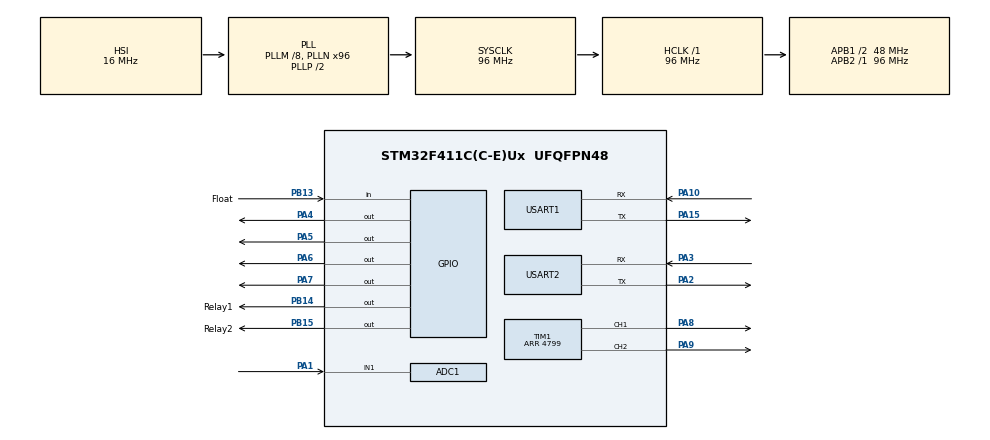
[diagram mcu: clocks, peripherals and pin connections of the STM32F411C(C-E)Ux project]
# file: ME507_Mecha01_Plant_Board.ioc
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ADC1.Channel-0\#ChannelRegularConversion=ADC_CHANNEL_1
ADC1.NbrOfConversionFlag=1
ADC1.Rank-0\#ChannelRegularConversion=1
ADC1.SamplingTime-0\#ChannelRegularConversion=ADC_SAMPLETIME_3CYCLES
ADC1.master=1
Mcu.Family=STM32F4
Mcu.Name=STM32F411C(C-E)Ux
Mcu.Package=UFQFPN48
NVIC.PriorityGroup=NVIC_PRIORITYGROUP_4
PA1.Signal=ADCx_IN1
PA10.Mode=Asynchronous
PA10.Signal=USART1_RX
PA13.Mode=Trace_Asynchronous_SW
PA13.Signal=SYS_JTMS-SWDIO
PA14.Mode=Trace_Asynchronous_SW
PA14.Signal=SYS_JTCK-SWCLK
PA15.Mode=Asynchronous
PA15.Signal=USART1_TX
PA2.Mode=Asynchronous
PA2.Signal=USART2_TX
PA3.Mode=Asynchronous
PA3.Signal=USART2_RX
PA4.Signal=GPIO_Output
PA5.Signal=GPIO_Output
PA6.Signal=GPIO_Output
PA7.Signal=GPIO_Output
PA8.Signal=S_TIM1_CH1
PA9.Signal=S_TIM1_CH2
PB13.GPIO_Label=Float
PB13.Signal=GPIO_Input
PB14.GPIO_Label=Relay1
PB14.Signal=GPIO_Output
PB15.GPIO_Label=Relay2
PB15.Signal=GPIO_Output
PB3.Mode=Trace_Asynchronous_SW
PB3.Signal=SYS_JTDO-SWO
ProjectManager.HeapSize=0x200
ProjectManager.StackSize=0x400
ProjectManager.TargetToolchain=STM32CubeIDE
RCC.48MHZClocksFreq_Value=48000000
RCC.AHBFreq_Value=96000000
RCC.APB1CLKDivider=RCC_HCLK_DIV2
RCC.APB1Freq_Value=48000000
RCC.APB1TimFreq_Value=96000000
RCC.APB2Freq_Value=96000000
RCC.APB2TimFreq_Value=96000000
RCC.CortexFreq_Value=96000000
RCC.HCLKFreq_Value=96000000
RCC.HSE_VALUE=25000000
RCC.HSI_VALUE=16000000
RCC.LSE_VALUE=32768
RCC.PLLM=8
RCC.PLLN=96
RCC.SYSCLKFreq_VALUE=96000000
RCC.SYSCLKSource=RCC_SYSCLKSOURCE_PLLCLK
RCC.VCOOutputFreq_Value=192000000
SH.ADCx_IN1.0=ADC1_IN1,IN1
SH.S_TIM1_CH1.0=TIM1_CH1,PWM Generation1 CH1
SH.S_TIM1_CH2.0=TIM1_CH2,PWM Generation2 CH2
TIM1.Channel-PWM\ Generation1\ CH1=TIM_CHANNEL_1
TIM1.Channel-PWM\ Generation2\ CH2=TIM_CHANNEL_2
TIM1.Period=4799
USART1.VirtualMode=VM_ASYNC
USART2.VirtualMode=VM_ASYNC
board=custom

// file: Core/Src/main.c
/* USER CODE BEGIN Header */
/**
  ******************************************************************************
  * @file           : main.c
  * @brief          : Main program body
  ******************************************************************************
  * @attention
  *
  * Copyright (c) 2026 STMicroelectronics.
  * All rights reserved.
  *
  * This software is licensed under terms that can be found in the LICENSE file
  * in the root directory of this software component.
  * If no LICENSE file comes with this software, it is provided AS-IS.
  *
  ******************************************************************************
  */
/* USER CODE END Header */
#include "main.h"

/* USER CODE BEGIN Includes */
#include "motor_driver.h"
#include "stdio.h"
#include "stdlib.h"
#include "ctype.h"
#include "valve.h"
#include "float.h"
#include "probe.h"
/* USER CODE END Includes */

ADC_HandleTypeDef hadc1;

TIM_HandleTypeDef htim1;

UART_HandleTypeDef huart1;
UART_HandleTypeDef huart2;

/* USER CODE BEGIN PV */
//defining all peripherals - sensors + actuators
motor_t motor;
valve_t valve1;
valve_t valve2;
float_t float1;
tds_t tds1;

uint8_t motor_enable = 0;
uint32_t last_motor_cycle_tick = 0;
uint32_t  motor_start_tick = 0;
/* USER CODE END PV */

void SystemClock_Config(void);
static void MX_GPIO_Init(void);
static void MX_ADC1_Init(void);
static void MX_TIM1_Init(void);
static void MX_USART1_UART_Init(void);
static void MX_USART2_UART_Init(void);

int main(void)
{

  /* MCU Configuration--------------------------------------------------------*/

  /* Reset of all peripherals, Initializes the Flash interface and the Systick. */
  HAL_Init();

  /* Configure the system clock */
  SystemClock_Config();

  /* Initialize all configured peripherals */
  MX_GPIO_Init();
  MX_ADC1_Init();
  MX_TIM1_Init();
  MX_USART1_UART_Init();
  MX_USART2_UART_Init();
  /* USER CODE BEGIN 2 */
  motor = (motor_t){TIM_CHANNEL_1, TIM_CHANNEL_2, &htim1};
  motor_chan_enable(&motor);
  motor_set_duty_cycle(&motor, 0);
  valve1 = (valve_t){Relay1_GPIO_Port, Relay1_Pin};
  valve2 = (valve_t){Relay2_GPIO_Port, Relay2_Pin};
  float1 = (float_t){Float_GPIO_Port, Float_Pin};
  tds_init(&tds1, &hadc1, &huart1, 3.3f);
  last_motor_cycle_tick = HAL_GetTick();

  /* USER CODE END 2 */

  /* Infinite loop */
  /* USER CODE BEGIN WHILE */

  while (1)
  {
	  uint32_t now = HAL_GetTick();

	     /* Read float switch */
	     if(read_float(&float1) == GPIO_PIN_SET){
	         valve_open(&valve1);
	     }
	     else{
	         valve_close(&valve1);
	     }

	     /* Read TDS sensor */
	     float ppm = tds_read_ppm(&tds1);
	     tds_uart_print(&tds1);

	     if(ppm < 100.0f)  {
	         valve_open(&valve2);
	     }
	     else{
	         valve_close(&valve2);
	     }

	     /* Motor enabling */
	     if((motor_enable == 0) &&
	        ((now - last_motor_cycle_tick) >= 36000UL)){
	         motor_enable = 1;
	         motor_start_tick = now;
	     }

	     if((motor_enable == 1) &&
	        ((now - motor_start_tick) >= 6000UL)){
	         motor_enable = 0;
	         last_motor_cycle_tick = now;
	     }

	     /* Apply motor state */
	     if(motor_enable){
	         motor_set_duty_cycle(&motor, 100);
	     }
	     else{
	         motor_stop(&motor);
	     }

	     HAL_Delay(50);

    /* USER CODE END WHILE */

  }
}

void SystemClock_Config(void)
{
  RCC_OscInitTypeDef RCC_OscInitStruct = {0};
  RCC_ClkInitTypeDef RCC_ClkInitStruct = {0};

  /** Configure the main internal regulator output voltage
  */
  __HAL_RCC_PWR_CLK_ENABLE();
  __HAL_PWR_VOLTAGESCALING_CONFIG(PWR_REGULATOR_VOLTAGE_SCALE1);

  /** Initializes the RCC Oscillators according to the specified parameters
  * in the RCC_OscInitTypeDef structure.
  */
  RCC_OscInitStruct.OscillatorType = RCC_OSCILLATORTYPE_HSI;
  RCC_OscInitStruct.HSIState = RCC_HSI_ON;
  RCC_OscInitStruct.HSICalibrationValue = RCC_HSICALIBRATION_DEFAULT;
  RCC_OscInitStruct.PLL.PLLState = RCC_PLL_ON;
  RCC_OscInitStruct.PLL.PLLSource = RCC_PLLSOURCE_HSI;
  RCC_OscInitStruct.PLL.PLLM = 8;
  RCC_OscInitStruct.PLL.PLLN = 96;
  RCC_OscInitStruct.PLL.PLLP = RCC_PLLP_DIV2;
  RCC_OscInitStruct.PLL.PLLQ = 4;
  if (HAL_RCC_OscConfig(&RCC_OscInitStruct) != HAL_OK)
  {
    Error_Handler();
  }

  /** Initializes the CPU, AHB and APB buses clocks
  */
  RCC_ClkInitStruct.ClockType = RCC_CLOCKTYPE_HCLK|RCC_CLOCKTYPE_SYSCLK
                              |RCC_CLOCKTYPE_PCLK1|RCC_CLOCKTYPE_PCLK2;
  RCC_ClkInitStruct.SYSCLKSource = RCC_SYSCLKSOURCE_PLLCLK;
  RCC_ClkInitStruct.AHBCLKDivider = RCC_SYSCLK_DIV1;
  RCC_ClkInitStruct.APB1CLKDivider = RCC_HCLK_DIV2;
  RCC_ClkInitStruct.APB2CLKDivider = RCC_HCLK_DIV1;

  if (HAL_RCC_ClockConfig(&RCC_ClkInitStruct, FLASH_LATENCY_3) != HAL_OK)
  {
    Error_Handler();
  }
}

static void MX_ADC1_Init(void)
{

  ADC_ChannelConfTypeDef sConfig = {0};

  /** Configure the global features of the ADC (Clock, Resolution, Data Alignment and number of conversion)
  */
  hadc1.Instance = ADC1;
  hadc1.Init.ClockPrescaler = ADC_CLOCK_SYNC_PCLK_DIV4;
  hadc1.Init.Resolution = ADC_RESOLUTION_12B;
  hadc1.Init.ScanConvMode = DISABLE;
  hadc1.Init.ContinuousConvMode = DISABLE;
  hadc1.Init.DiscontinuousConvMode = DISABLE;
  hadc1.Init.ExternalTrigConvEdge = ADC_EXTERNALTRIGCONVEDGE_NONE;
  hadc1.Init.ExternalTrigConv = ADC_SOFTWARE_START;
  hadc1.Init.DataAlign = ADC_DATAALIGN_RIGHT;
  hadc1.Init.NbrOfConversion = 1;
  hadc1.Init.DMAContinuousRequests = DISABLE;
  hadc1.Init.EOCSelection = ADC_EOC_SINGLE_CONV;
  if (HAL_ADC_Init(&hadc1) != HAL_OK)
  {
    Error_Handler();
  }

  /** Configure for the selected ADC regular channel its corresponding rank in the sequencer and its sample time.
  */
  sConfig.Channel = ADC_CHANNEL_1;
  sConfig.Rank = 1;
  sConfig.SamplingTime = ADC_SAMPLETIME_3CYCLES;
  if (HAL_ADC_ConfigChannel(&hadc1, &sConfig) != HAL_OK)
  {
    Error_Handler();
  }

}

static void MX_TIM1_Init(void)
{

  TIM_MasterConfigTypeDef sMasterConfig = {0};
  TIM_OC_InitTypeDef sConfigOC = {0};
  TIM_BreakDeadTimeConfigTypeDef sBreakDeadTimeConfig = {0};

  htim1.Instance = TIM1;
  htim1.Init.Prescaler = 0;
  htim1.Init.CounterMode = TIM_COUNTERMODE_UP;
  htim1.Init.Period = 4799;
  htim1.Init.ClockDivision = TIM_CLOCKDIVISION_DIV1;
  htim1.Init.RepetitionCounter = 0;
  htim1.Init.AutoReloadPreload = TIM_AUTORELOAD_PRELOAD_DISABLE;
  if (HAL_TIM_PWM_Init(&htim1) != HAL_OK)
  {
    Error_Handler();
  }
  sMasterConfig.MasterOutputTrigger = TIM_TRGO_RESET;
  sMasterConfig.MasterSlaveMode = TIM_MASTERSLAVEMODE_DISABLE;
  if (HAL_TIMEx_MasterConfigSynchronization(&htim1, &sMasterConfig) != HAL_OK)
  {
    Error_Handler();
  }
  sConfigOC.OCMode = TIM_OCMODE_PWM1;
  sConfigOC.Pulse = 0;
  sConfigOC.OCPolarity = TIM_OCPOLARITY_HIGH;
  sConfigOC.OCNPolarity = TIM_OCNPOLARITY_HIGH;
  sConfigOC.OCFastMode = TIM_OCFAST_DISABLE;
  sConfigOC.OCIdleState = TIM_OCIDLESTATE_RESET;
  sConfigOC.OCNIdleState = TIM_OCNIDLESTATE_RESET;
  if (HAL_TIM_PWM_ConfigChannel(&htim1, &sConfigOC, TIM_CHANNEL_1) != HAL_OK)
  {
    Error_Handler();
  }
  if (HAL_TIM_PWM_ConfigChannel(&htim1, &sConfigOC, TIM_CHANNEL_2) != HAL_OK)
  {
    Error_Handler();
  }
  sBreakDeadTimeConfig.OffStateRunMode = TIM_OSSR_DISABLE;
  sBreakDeadTimeConfig.OffStateIDLEMode = TIM_OSSI_DISABLE;
  sBreakDeadTimeConfig.LockLevel = TIM_LOCKLEVEL_OFF;
  sBreakDeadTimeConfig.DeadTime = 0;
  sBreakDeadTimeConfig.BreakState = TIM_BREAK_DISABLE;
  sBreakDeadTimeConfig.BreakPolarity = TIM_BREAKPOLARITY_HIGH;
  sBreakDeadTimeConfig.AutomaticOutput = TIM_AUTOMATICOUTPUT_DISABLE;
  if (HAL_TIMEx_ConfigBreakDeadTime(&htim1, &sBreakDeadTimeConfig) != HAL_OK)
  {
    Error_Handler();
  }
  HAL_TIM_MspPostInit(&htim1);

}

static void MX_USART1_UART_Init(void)
{

  huart1.Instance = USART1;
  huart1.Init.BaudRate = 115200;
  huart1.Init.WordLength = UART_WORDLENGTH_8B;
  huart1.Init.StopBits = UART_STOPBITS_1;
  huart1.Init.Parity = UART_PARITY_NONE;
  huart1.Init.Mode = UART_MODE_TX_RX;
  huart1.Init.HwFlowCtl = UART_HWCONTROL_NONE;
  huart1.Init.OverSampling = UART_OVERSAMPLING_16;
  if (HAL_UART_Init(&huart1) != HAL_OK)
  {
    Error_Handler();
  }

}

static void MX_USART2_UART_Init(void)
{

  huart2.Instance = USART2;
  huart2.Init.BaudRate = 115200;
  huart2.Init.WordLength = UART_WORDLENGTH_8B;
  huart2.Init.StopBits = UART_STOPBITS_1;
  huart2.Init.Parity = UART_PARITY_NONE;
  huart2.Init.Mode = UART_MODE_TX_RX;
  huart2.Init.HwFlowCtl = UART_HWCONTROL_NONE;
  huart2.Init.OverSampling = UART_OVERSAMPLING_16;
  if (HAL_UART_Init(&huart2) != HAL_OK)
  {
    Error_Handler();
  }

}

static void MX_GPIO_Init(void)
{
  GPIO_InitTypeDef GPIO_InitStruct = {0};

  /* GPIO Ports Clock Enable */
  __HAL_RCC_GPIOA_CLK_ENABLE();
  __HAL_RCC_GPIOB_CLK_ENABLE();

  /*Configure GPIO pin Output Level */
  HAL_GPIO_WritePin(GPIOA, GPIO_PIN_4|GPIO_PIN_5|GPIO_PIN_6|GPIO_PIN_7, GPIO_PIN_RESET);

  /*Configure GPIO pin Output Level */
  HAL_GPIO_WritePin(GPIOB, Relay1_Pin|Relay2_Pin, GPIO_PIN_RESET);

  /*Configure GPIO pins : PA4 PA5 PA6 PA7 */
  GPIO_InitStruct.Pin = GPIO_PIN_4|GPIO_PIN_5|GPIO_PIN_6|GPIO_PIN_7;
  GPIO_InitStruct.Mode = GPIO_MODE_OUTPUT_PP;
  GPIO_InitStruct.Pull = GPIO_NOPULL;
  GPIO_InitStruct.Speed = GPIO_SPEED_FREQ_LOW;
  HAL_GPIO_Init(GPIOA, &GPIO_InitStruct);

  /*Configure GPIO pin : Float_Pin */
  GPIO_InitStruct.Pin = Float_Pin;
  GPIO_InitStruct.Mode = GPIO_MODE_INPUT;
  GPIO_InitStruct.Pull = GPIO_NOPULL;
  HAL_GPIO_Init(Float_GPIO_Port, &GPIO_InitStruct);

  /*Configure GPIO pins : Relay1_Pin Relay2_Pin */
  GPIO_InitStruct.Pin = Relay1_Pin|Relay2_Pin;
  GPIO_InitStruct.Mode = GPIO_MODE_OUTPUT_PP;
  GPIO_InitStruct.Pull = GPIO_NOPULL;
  GPIO_InitStruct.Speed = GPIO_SPEED_FREQ_LOW;
  HAL_GPIO_Init(GPIOB, &GPIO_InitStruct);

}

void Error_Handler(void)
{
  __disable_irq();
  while (1)
  {
  }
}
